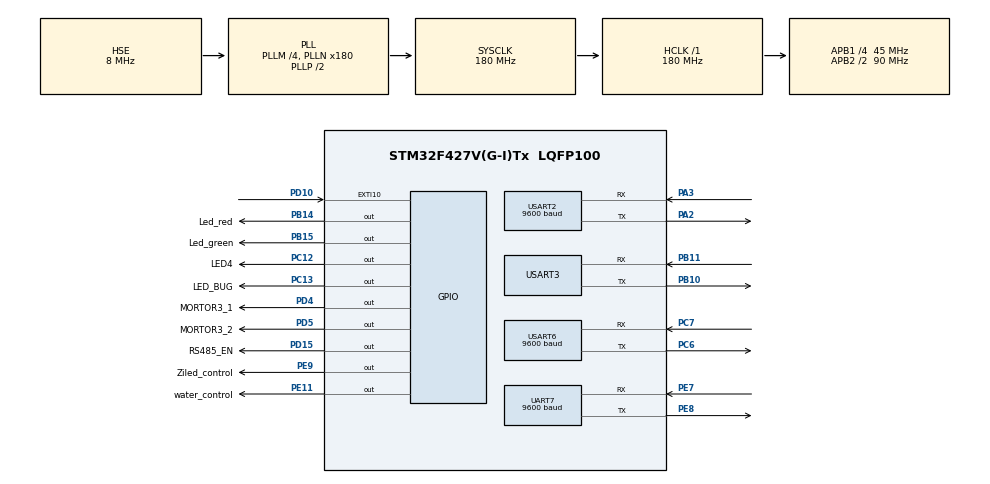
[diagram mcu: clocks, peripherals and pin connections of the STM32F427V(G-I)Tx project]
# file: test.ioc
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FREERTOS.Tasks01=defaultTask,-2,128,StartDefaultTask,Default,NULL,Dynamic,NULL,NULL;Led_Bug_task,-2,128,Led_Bug_task_function,Default,NULL,Dynamic,NULL,NULL;Usart4_Bug_task,2,256,Usart4_Bug_task_function,Default,NULL,Dynamic,NULL,NULL;Usart6_Bug_task,-2,256,Usart6_Bug_task_function,Default,NULL,Dynamic,NULL,NULL
Mcu.Family=STM32F4
Mcu.Name=STM32F427V(G-I)Tx
Mcu.Package=LQFP100
NVIC.EXTI15_10_IRQn=true\:5\:0\:false\:false\:true\:true\:true\:true\:true
NVIC.PriorityGroup=NVIC_PRIORITYGROUP_4
NVIC.TIM1_BRK_TIM9_IRQn=true\:5\:0\:false\:false\:true\:true\:true\:true\:true
NVIC.TIM1_CC_IRQn=true\:5\:0\:false\:false\:true\:true\:true\:true\:true
NVIC.TIM1_TRG_COM_TIM11_IRQn=true\:5\:0\:false\:false\:true\:true\:true\:true\:true
NVIC.TIM1_UP_TIM10_IRQn=true\:5\:0\:false\:false\:true\:true\:true\:true\:true
NVIC.TIM2_IRQn=true\:5\:0\:false\:false\:true\:true\:true\:true\:true
NVIC.TIM4_IRQn=true\:5\:0\:false\:false\:true\:true\:true\:true\:true
NVIC.TIM8_TRG_COM_TIM14_IRQn=true\:15\:0\:false\:false\:true\:false\:false\:true\:true
NVIC.TimeBase=TIM8_TRG_COM_TIM14_IRQn
NVIC.TimeBaseIP=TIM14
NVIC.UART7_IRQn=true\:5\:0\:false\:false\:true\:true\:true\:true\:true
NVIC.USART2_IRQn=true\:5\:0\:false\:false\:true\:true\:true\:true\:true
NVIC.USART3_IRQn=true\:5\:0\:false\:false\:true\:true\:true\:true\:true
NVIC.USART6_IRQn=true\:5\:0\:false\:false\:true\:true\:true\:true\:true
PA13.Mode=Serial_Wire
PA13.Signal=SYS_JTMS-SWDIO
PA14.Mode=Serial_Wire
PA14.Signal=SYS_JTCK-SWCLK
PA2.Mode=Asynchronous
PA2.Signal=USART2_TX
PA3.Mode=Asynchronous
PA3.Signal=USART2_RX
PB10.Mode=Asynchronous
PB10.Signal=USART3_TX
PB11.Mode=Asynchronous
PB11.Signal=USART3_RX
PB14.GPIO_Label=Led_red
PB14.Signal=GPIO_Output
PB15.GPIO_Label=Led_green
PB15.Signal=GPIO_Output
PC12.GPIO_Label=LED4
PC12.GPIO_PuPd=GPIO_NOPULL
PC12.Signal=GPIO_Output
PC13.GPIO_Label=LED_BUG
PC13.Signal=GPIO_Output
PC6.Mode=Asynchronous
PC6.Signal=USART6_TX
PC7.Mode=Asynchronous
PC7.Signal=USART6_RX
PD10.GPIO_ModeDefaultEXTI=GPIO_MODE_IT_FALLING
PD10.Signal=GPXTI10
PD15.GPIO_Label=RS485_EN
PD15.Signal=GPIO_Output
PD4.GPIO_Label=MORTOR3_1
PD4.Signal=GPIO_Output
PD5.GPIO_Label=MORTOR3_2
PD5.Signal=GPIO_Output
PE11.GPIO_Label=water_control
PE11.Signal=GPIO_Output
PE7.Mode=Asynchronous
PE7.Signal=UART7_RX
PE8.Mode=Asynchronous
PE8.Signal=UART7_TX
PE9.GPIO_Label=Ziled_control
PE9.Signal=GPIO_Output
PH0/OSC_IN.Mode=HSE-External-Oscillator
PH0/OSC_IN.Signal=RCC_OSC_IN
PH1/OSC_OUT.Mode=HSE-External-Oscillator
PH1/OSC_OUT.Signal=RCC_OSC_OUT
ProjectManager.HeapSize=0x2000
ProjectManager.StackSize=0x2000
ProjectManager.TargetToolchain=MDK-ARM V5.32
RCC.48MHZClocksFreq_Value=90000000
RCC.AHBFreq_Value=180000000
RCC.APB1CLKDivider=RCC_HCLK_DIV4
RCC.APB1Freq_Value=45000000
RCC.APB1TimFreq_Value=90000000
RCC.APB2CLKDivider=RCC_HCLK_DIV2
RCC.APB2Freq_Value=90000000
RCC.APB2TimFreq_Value=180000000
RCC.CortexFreq_Value=180000000
RCC.HCLKFreq_Value=180000000
RCC.HSE_VALUE=8000000
RCC.HSI_VALUE=16000000
RCC.LSE_VALUE=32768
RCC.PLLM=4
RCC.PLLN=180
RCC.PLLSourceVirtual=RCC_PLLSOURCE_HSE
RCC.SYSCLKFreq_VALUE=180000000
RCC.SYSCLKSource=RCC_SYSCLKSOURCE_PLLCLK
RCC.VCOOutputFreq_Value=360000000
TIM1.Prescaler=180-1
TIM2.Period=1000-1
TIM2.Prescaler=90-1
TIM4.Period=1000-1
TIM4.Prescaler=90-1
UART7.BaudRate=9600
UART7.Parity=PARITY_EVEN
UART7.VirtualMode=Asynchronous
UART7.WordLength=WORDLENGTH_9B
USART2.BaudRate=9600
USART2.Parity=PARITY_EVEN
USART2.VirtualMode=VM_ASYNC
USART2.WordLength=WORDLENGTH_9B
USART3.VirtualMode=VM_ASYNC
USART6.BaudRate=9600
USART6.Parity=PARITY_EVEN
USART6.VirtualMode=VM_ASYNC
USART6.WordLength=WORDLENGTH_9B
VP_FREERTOS_VS_CMSIS_V1.Mode=CMSIS_V1
VP_SYS_VS_tim14.Mode=TIM14
VP_TIM1_VS_ClockSourceINT.Mode=Internal
VP_TIM2_VS_ClockSourceINT.Mode=Internal
VP_TIM4_VS_ClockSourceINT.Mode=Internal
board=custom

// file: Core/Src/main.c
/* USER CODE BEGIN Header */
/**
 ******************************************************************************
 * @file           : main.c
 * @brief          : Main program body
 ******************************************************************************
 * @attention
 *
 * Copyright (c) 2024 STMicroelectronics.
 * All rights reserved.
 *
 * This software is licensed under terms that can be found in the LICENSE file
 * in the root directory of this software component.
 * If no LICENSE file comes with this software, it is provided AS-IS.
 *
 ******************************************************************************
 */
/* USER CODE END Header */
#include "main.h"
#include "cmsis_os.h"
#include "tim.h"
#include "usart.h"
#include "gpio.h"

/* USER CODE BEGIN Includes */
#include <stdio.h>
#include <string.h>
#include "pns.h"
#include "parements.h"

/* USER CODE END Includes */

/* USER CODE BEGIN PTD */

uint16_t Tim_count = 0; // 定时器计数值---Bug灯

uint16_t Tim2_count = 0; // 转圈

/* USER CODE END PTD */

/* USER CODE BEGIN PD */

extern int16_t Speed_left; // 左轮速度

extern int16_t Speed_Right; // 右轮速度

extern uint8_t receivedDate; // 串口三PNS----单字符接收

extern uint8_t start_bit;

/* USER CODE END PD */

void SystemClock_Config(void);
void MX_FREERTOS_Init(void);

int main(void)
{

  /* MCU Configuration--------------------------------------------------------*/

  /* Reset of all peripherals, Initializes the Flash interface and the Systick. */
  HAL_Init();

  /* Configure the system clock */
  SystemClock_Config();

  /* Initialize all configured peripherals */
  MX_GPIO_Init();
  MX_TIM4_Init();
  MX_TIM1_Init();
  MX_USART3_UART_Init();
  MX_USART6_UART_Init();
  MX_USART2_UART_Init();
  MX_UART7_Init();
  MX_TIM2_Init();
  /* USER CODE BEGIN 2 */

  HAL_TIM_Base_Start_IT(&htim4); // 启动定时器四  Bug 灯

  //  printf("--Hello--\r\n");                          // 开机测试

  __HAL_UART_ENABLE_IT(&huart2, UART_IT_RXNE); // 串口二使能    右电机485控制

  __HAL_UART_ENABLE_IT(&huart6, UART_IT_RXNE); // 串口六使能    左电机485控制

  __HAL_UART_ENABLE_IT(&huart7, UART_IT_RXNE); // 串口七使能     摆臂电机485控制

  HAL_TIM_Base_Start(&htim1); // 启动定时器八 遥控器读取

  HAL_UART_Receive_IT(&huart3, &receivedDate, 1); // 开启串口一接收中断,接受到1个字节后，就会进入到中断回调中  PNS 接收

  //	HAL_TIM_PWM_Start(&htim3, TIM_CHANNEL_3);         // 开启定时器3，PWM通道3---电机速度控制-----摆臂电机

  /* USER CODE END 2 */

  /* Call init function for freertos objects (in freertos.c) */
  MX_FREERTOS_Init();

  /* Start scheduler */
  osKernelStart();

  /* We should never get here as control is now taken by the scheduler */
  /* Infinite loop */
  /* USER CODE BEGIN WHILE */
  Robot_Parament_Init(); // 机器人参数初始化
  while (1)
  {
    /* USER CODE END WHILE */

  }
}

void SystemClock_Config(void)
{
  RCC_OscInitTypeDef RCC_OscInitStruct = {0};
  RCC_ClkInitTypeDef RCC_ClkInitStruct = {0};

  /** Configure the main internal regulator output voltage
  */
  __HAL_RCC_PWR_CLK_ENABLE();
  __HAL_PWR_VOLTAGESCALING_CONFIG(PWR_REGULATOR_VOLTAGE_SCALE1);

  /** Initializes the RCC Oscillators according to the specified parameters
  * in the RCC_OscInitTypeDef structure.
  */
  RCC_OscInitStruct.OscillatorType = RCC_OSCILLATORTYPE_HSE;
  RCC_OscInitStruct.HSEState = RCC_HSE_ON;
  RCC_OscInitStruct.PLL.PLLState = RCC_PLL_ON;
  RCC_OscInitStruct.PLL.PLLSource = RCC_PLLSOURCE_HSE;
  RCC_OscInitStruct.PLL.PLLM = 4;
  RCC_OscInitStruct.PLL.PLLN = 180;
  RCC_OscInitStruct.PLL.PLLP = RCC_PLLP_DIV2;
  RCC_OscInitStruct.PLL.PLLQ = 4;
  if (HAL_RCC_OscConfig(&RCC_OscInitStruct) != HAL_OK)
  {
    Error_Handler();
  }

  /** Activate the Over-Drive mode
  */
  if (HAL_PWREx_EnableOverDrive() != HAL_OK)
  {
    Error_Handler();
  }

  /** Initializes the CPU, AHB and APB buses clocks
  */
  RCC_ClkInitStruct.ClockType = RCC_CLOCKTYPE_HCLK|RCC_CLOCKTYPE_SYSCLK
                              |RCC_CLOCKTYPE_PCLK1|RCC_CLOCKTYPE_PCLK2;
  RCC_ClkInitStruct.SYSCLKSource = RCC_SYSCLKSOURCE_PLLCLK;
  RCC_ClkInitStruct.AHBCLKDivider = RCC_SYSCLK_DIV1;
  RCC_ClkInitStruct.APB1CLKDivider = RCC_HCLK_DIV4;
  RCC_ClkInitStruct.APB2CLKDivider = RCC_HCLK_DIV2;

  if (HAL_RCC_ClockConfig(&RCC_ClkInitStruct, FLASH_LATENCY_5) != HAL_OK)
  {
    Error_Handler();
  }
}

/* USER CODE BEGIN 4 */

/*************************Printf函数重写**********************************************/

// #if 1
// #pragma import(__use_no_semihosting) // 确保没有从 C 库链接使用半主机的函数

// int fputc(int c, FILE *p) // 函数默认的，在使用printf函数时自动调用
//{
//   uint8_t ch[1] = {c};
//   HAL_UART_Transmit(&huart1, ch, 1, 0xFFFF);
//   return c;
// }

// FILE __stdout;

// struct __FILE
//{
//   int handle;
// };

//// 定义_sys_exit()以避免使用半主机模式
// void _sys_exit(int x)
//{
//   x = x;
// }
// #endif

/*************************Printf函数重写**********************************************/

/******************************遥控器接收*********************************************/
extern uint16_t CountSensor_Count;

extern uint16_t PPM_Sample_Cnt; // 通道

extern uint8_t PPM_Chn_Max; // 最大通道数

extern uint32_t PPM_Time; // 获取通道时间

extern uint16_t PPM_Okay; // 下一次解析状态

extern uint16_t PPM_Databuf[13]; // 所有通道的数组

void HAL_GPIO_EXTI_Callback(uint16_t GPIO_Pin)
{
  //		/*如果出现数据乱跳的现象，可再次判断引脚电平，以避免抖动*/

  if (GPIO_Pin == GPIO_PIN_10)
  {
    PPM_Time = TIM1->CNT; // 将定时数转存
    TIM1->CNT = 0;        // 计数器归零
    if (PPM_Okay == 1)    // 判断是否是新的一轮解析
    {
      PPM_Sample_Cnt++;                           // 通道数+1
      PPM_Databuf[PPM_Sample_Cnt - 1] = PPM_Time; // 把每一个通道的数值存入数组
      if (PPM_Sample_Cnt >= PPM_Chn_Max)          // 判断是否超过额定通道数
        PPM_Okay = 0;
    }
    if (PPM_Time >= 2050) // 长时间无下降沿即无通道数据，进入下一轮解析
    {
      PPM_Okay = 1;
      PPM_Sample_Cnt = 0;
    }
  }
}
/******************************遥控器接收*********************************************/

/* USER CODE END 4 */

void HAL_TIM_PeriodElapsedCallback(TIM_HandleTypeDef *htim)
{
  /* USER CODE BEGIN Callback 0 */
  /******************************心跳灯*********************************************/
  if (htim == &htim4)
  {
    Tim_count++;          // 心跳
    if (Tim_count == 500) //----心跳中断---- 200ms
    {

      HAL_GPIO_TogglePin(GPIOC, LED_BUG_Pin); // 电平反转
      Tim_count = 0;
    }
  }
  /******************************心跳灯*********************************************/

	if(htim == &htim2)
	{
		Tim2_count++;
	  if (Tim2_count == 5000) //----心跳中断---- 200ms
    {
			HAL_TIM_Base_Stop_IT(&htim2);  //停止定时器的时候调用这个函数关闭
			start_bit=1;
      Tim2_count = 0;
    }
	}

  /* USER CODE END Callback 0 */
  if (htim->Instance == TIM14) {
    HAL_IncTick();
  }
}

void Error_Handler(void)
{
  __disable_irq();
  while (1)
  {
  }
}

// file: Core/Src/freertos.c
/* USER CODE BEGIN Header */
/**
 ******************************************************************************
 * File Name          : freertos.c
 * Description        : Code for freertos applications
 ******************************************************************************
 * @attention
 *
 * Copyright (c) 2024 STMicroelectronics.
 * All rights reserved.
 *
 * This software is licensed under terms that can be found in the LICENSE file
 * in the root directory of this software component.
 * If no LICENSE file comes with this software, it is provided AS-IS.
 *
 ******************************************************************************
 */
/* USER CODE END Header */

#include "FreeRTOS.h"
#include "task.h"
#include "main.h"
#include "cmsis_os.h"

/* USER CODE BEGIN Includes */
#include <stdio.h>
#include <string.h>
#include "control.h"
#include "usart.h"
#include "MBcrc.h"
#include "pns.h"
/* USER CODE END Includes */

/* USER CODE BEGIN PTD */

int16_t Speed_left = 0; // 接收的左电机速度

int16_t Speed_Right = 0; // 接收的右电机速度

int16_t read = 1; // 读数据标志

int16_t send = 0; // 写数据标志

int16_t read_finish = 0; // 读取完成标志

extern int Car_Left_Speed; // 向驱动器发送速度--左电机

extern int Car_Right_Speed; // 向驱动器发送速度--右电机

extern int Car_Baibi_Speed; // 向驱动器发送速度--摆臂电机

extern uint8_t receive_485_Left[MAX_RXD_LEN]; // 左电机接收485消息包

extern uint8_t receive_485_Right[MAX_RXD_LEN]; // 右电机接收485消息包

extern uint8_t send_bit; // 发送标志

/* USER CODE END PTD */

osThreadId defaultTaskHandle;
osThreadId Led_Bug_taskHandle;
osThreadId Usart4_Bug_taskHandle;
osThreadId Usart6_Bug_taskHandle;

void StartDefaultTask(void const * argument);
void Led_Bug_task_function(void const * argument);
void Usart4_Bug_task_function(void const * argument);
void Usart6_Bug_task_function(void const * argument);

void MX_FREERTOS_Init(void); /* (MISRA C 2004 rule 8.1) */

/* GetIdleTaskMemory prototype (linked to static allocation support) */
void vApplicationGetIdleTaskMemory( StaticTask_t **ppxIdleTaskTCBBuffer, StackType_t **ppxIdleTaskStackBuffer, uint32_t *pulIdleTaskStackSize );

/* USER CODE BEGIN GET_IDLE_TASK_MEMORY */
static StaticTask_t xIdleTaskTCBBuffer;
static StackType_t xIdleStack[configMINIMAL_STACK_SIZE];

void vApplicationGetIdleTaskMemory(StaticTask_t **ppxIdleTaskTCBBuffer, StackType_t **ppxIdleTaskStackBuffer, uint32_t *pulIdleTaskStackSize)
{
  *ppxIdleTaskTCBBuffer = &xIdleTaskTCBBuffer;
  *ppxIdleTaskStackBuffer = &xIdleStack[0];
  *pulIdleTaskStackSize = configMINIMAL_STACK_SIZE;
  /* place for user code */
}
/* USER CODE END GET_IDLE_TASK_MEMORY */

void MX_FREERTOS_Init(void) {

  /* Create the thread(s) */
  /* definition and creation of defaultTask */
  osThreadDef(defaultTask, StartDefaultTask, osPriorityLow, 0, 128);
  defaultTaskHandle = osThreadCreate(osThread(defaultTask), NULL);

  /* definition and creation of Led_Bug_task */
  osThreadDef(Led_Bug_task, Led_Bug_task_function, osPriorityLow, 0, 128);
  Led_Bug_taskHandle = osThreadCreate(osThread(Led_Bug_task), NULL);

  /* definition and creation of Usart4_Bug_task */
  osThreadDef(Usart4_Bug_task, Usart4_Bug_task_function, osPriorityHigh, 0, 256);
  Usart4_Bug_taskHandle = osThreadCreate(osThread(Usart4_Bug_task), NULL);

  /* definition and creation of Usart6_Bug_task */
  osThreadDef(Usart6_Bug_task, Usart6_Bug_task_function, osPriorityLow, 0, 256);
  Usart6_Bug_taskHandle = osThreadCreate(osThread(Usart6_Bug_task), NULL);

}

void StartDefaultTask(void const * argument)
{
  /* USER CODE BEGIN StartDefaultTask */
  /* Infinite loop */
  for (;;)
  {
    Hand_model_explain(); // 遥控器接收解析
//		Run_square();
    osDelay(1);
  }
  /* USER CODE END StartDefaultTask */
}

void Led_Bug_task_function(void const * argument)
{
  /* USER CODE BEGIN Led_Bug_task_function */
  /* Infinite loop */
  for (;;)
  {

      if (read_finish == 1) // 当485控制器接收速度信息完成后，开始上传给PNS
      {

        Mcu_To_Pns(); // 给PNS回传信息

        read_finish = 0; // 标志位清零
      }

    osDelay(1);
  }
  /* USER CODE END Led_Bug_task_function */
}

void Usart4_Bug_task_function(void const * argument)
{
  /* USER CODE BEGIN Usart4_Bug_task_function */
  //		int left;
  /* Infinite loop */
  for (;;)
  {
    if (send == 0)
    {
      Send_four_and_six(Car_Right_Speed, Car_Left_Speed, Car_Baibi_Speed); // 给驱动器发送速度指令
      send = 1;
      read = 0;
    }
    osDelay(1);
  }
  /* USER CODE END Usart4_Bug_task_function */
}

void Usart6_Bug_task_function(void const * argument)
{
  /* USER CODE BEGIN Usart6_Bug_task_function */
  /* Infinite loop */
  //	int left;
  for (;;)
  {
    if (read == 0)
    {
      Read_left_and_right();

      Speed_Right = modbus_handle(receive_485_Right, 9); // 处理右驱动器收到的数据

      Speed_left = modbus_handle(receive_485_Left, 9); // 处理左驱动器接收到的数据

      if (((Speed_left >> 8) && 0x01) == 1) // 反向--因为两个电机的安装方向不一样，必然有一个是反的
      {
        Speed_left = 65535 - Speed_left;
      }

      else
        Speed_left = -Speed_left;

      read = 1;

      send = 0;

      read_finish = 1;
    }
    osDelay(1); // 任务延时、给时间让其他任务执行
  }
  /* USER CODE END Usart6_Bug_task_function */
}
